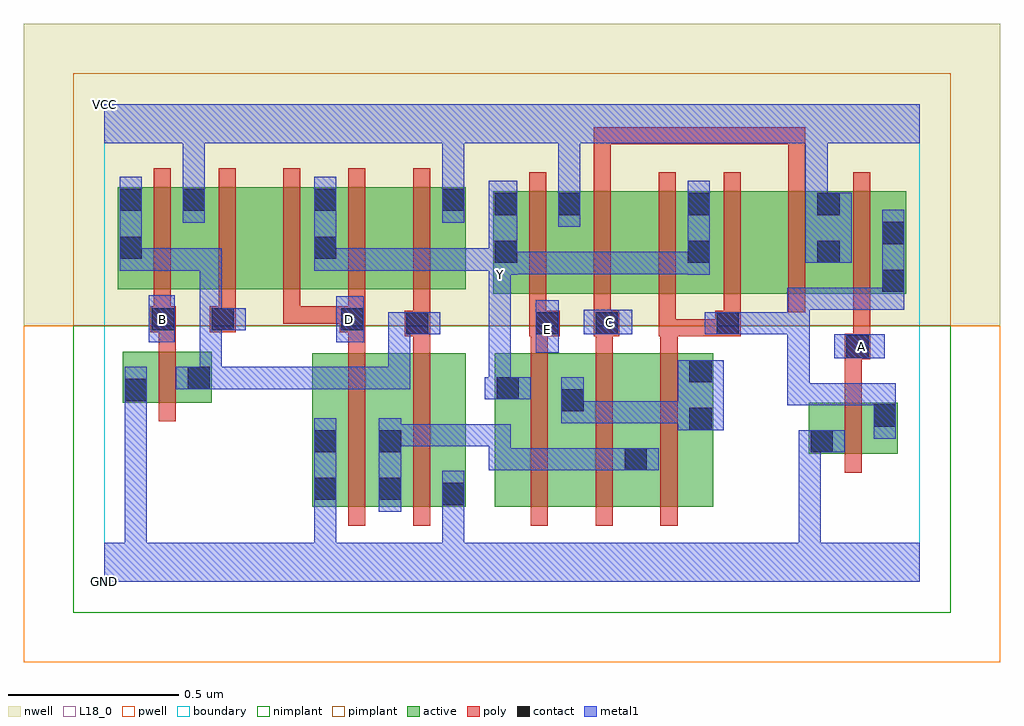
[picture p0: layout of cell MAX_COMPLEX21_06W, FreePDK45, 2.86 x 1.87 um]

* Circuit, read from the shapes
.subckt MAX_COMPLEX21_06W A B C D E GND VCC Y
M1 n1 B GND VSUBS nfet w=0.15u l=0.05u
M2 n2 D GND VSUBS nfet w=0.45u l=0.05u
M3 GND n1 n2 VSUBS nfet w=0.45u l=0.05u
M4 n3 E Y VSUBS nfet w=0.45u l=0.05u
M5 n2 C n3 VSUBS nfet w=0.45u l=0.05u
M6 n3 n4 n2 VSUBS nfet w=0.45u l=0.05u
M7 n4 A GND VSUBS nfet w=0.15u l=0.05u
M8 VCC B n1 n5 pfet w=0.3u l=0.05u
M9 n6 n1 VCC n5 pfet w=0.3u l=0.05u
M10 Y D n6 n5 pfet w=0.3u l=0.05u
M11 n7 D Y n5 pfet w=0.3u l=0.05u
M12 VCC n1 n7 n5 pfet w=0.3u l=0.05u
M13 VCC E Y n5 pfet w=0.3u l=0.05u
M14 n8 C VCC n5 pfet w=0.3u l=0.05u
M15 Y n4 n8 n5 pfet w=0.3u l=0.05u
M16 n9 n4 Y n5 pfet w=0.3u l=0.05u
M17 VCC C n9 n5 pfet w=0.3u l=0.05u
M18 n4 A VCC n5 pfet w=0.3u l=0.05u
.ends

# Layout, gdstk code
import gdstk
lib = gdstk.Library(unit=1e-6, precision=1e-09)
def R(c, l, rs):  # rectangles x0, y0, x1, y1
    for r in rs: c.add(gdstk.rectangle(r[:2], r[2:], *l))
def A(c, l, x, y, w, h, nx, ny, dx, dy):  # array of equal rectangles
    R(c, l, [(x+i*dx, y+j*dy, x+i*dx+w, y+j*dy+h) for i in range(nx) for j in range(ny)])
active = (1, 0)
pwell = (2, 0)
nwell = (3, 0)
nimplant = (4, 0)
pimplant = (5, 0)
poly = (9, 0)
contact = (10, 0)
metal1 = (11, 0)
L18_0 = (18, 0)
boundary = (235, 0)

max_complex21_06w = lib.new_cell('MAX_COMPLEX21_06W')
R(max_complex21_06w, active, [(0.61,0.22,0.875,0.67), (0.61,0.22,0.685,0.67), (0.8,0.22,1.06,0.67), (0.8,0.22,0.875,0.542), (0.985,0.22,1.06,0.435), (1.145,0.22,1.41,0.67), (1.335,0.22,1.595,0.67), (1.52,0.22,1.785,0.67), (1.145,0.245,1.22,0.67), (1.335,0.245,1.41,0.57), (1.52,0.245,1.595,0.542), (1.71,0.245,1.785,0.67), (2.065,0.375,2.14,0.525), (2.065,0.375,2.325,0.525), (2.25,0.375,2.325,0.525), (0.055,0.525,0.13,0.675), (0.055,0.525,0.315,0.675), (0.24,0.545,0.315,0.675), (1.14,0.845,1.215,1.145), (1.14,0.845,1.4,1.145), (1.325,0.845,1.555,1.145), (1.555,0.845,1.78,1.145), (1.705,0.845,1.78,1.145), (1.705,0.845,1.935,1.145), (1.935,0.845,2.16,1.145), (2.085,0.845,2.35,1.145), (2.085,0.845,2.16,1.145), (2.275,0.845,2.35,1.105), (0.04,0.857,0.115,1.157), (0.04,0.857,0.3,1.157), (0.225,0.857,0.3,1.157), (0.225,0.857,0.455,1.157), (0.455,0.857,0.685,1.157), (0.61,0.857,0.685,1.157), (0.61,0.857,0.835,1.157), (0.835,0.857,1.06,1.157), (0.985,0.857,1.06,1.157), (1.325,0.962,1.4,1.145)])
R(max_complex21_06w, pwell, [(-0.235,-0.235,2.625,0.75)])
R(max_complex21_06w, nwell, [(-0.235,0.75,2.625,1.635)])
R(max_complex21_06w, nimplant, [(-0.09,-0.09,2.48,0.75)])
R(max_complex21_06w, pimplant, [(-0.09,0.75,2.48,1.49)])
A(max_complex21_06w, poly, 1.25, 0.165, 0.05, 0.56, 3, 1, 0.19, 0)
A(max_complex21_06w, poly, 1.25, 0.675, 0.05, 0.095, 3, 1, 0.19, 0)
A(max_complex21_06w, poly, 0.145, 0.757, 0.05, 0.095, 4, 1, 0.19, 0)
A(max_complex21_06w, poly, 1.245, 0.79, 0.05, 0.41, 6, 1, 0.19, 0)
A(max_complex21_06w, poly, 0.145, 0.802, 0.05, 0.41, 5, 1, 0.19, 0)
R(max_complex21_06w, poly, [(0.715,0.165,0.765,0.725), (0.905,0.165,0.955,0.725), (2.17,0.32,2.22,0.58), (0.16,0.47,0.21,0.73), (2.17,0.53,2.22,0.702), (2.17,0.652,2.245,0.727), (0.715,0.675,0.765,0.782), (0.905,0.675,0.955,0.77), (2.195,0.677,2.245,0.84), (0.16,0.68,0.21,0.782), (0.88,0.72,0.955,0.795), (1.245,0.72,1.335,0.795), (1.435,0.72,1.51,0.795), (1.625,0.72,1.675,0.84), (1.625,0.72,1.68,0.77), (1.63,0.72,1.68,0.77), (1.63,0.72,1.68,0.77), (1.63,0.72,1.84,0.77), (1.79,0.72,1.865,0.795), (0.135,0.732,0.21,0.807), (0.31,0.732,0.385,0.807), (0.69,0.732,0.765,0.807), (0.905,0.745,0.955,0.852), (1.245,0.745,1.295,0.84), (1.435,0.745,1.485,0.84), (1.815,0.745,1.865,0.84), (0.525,0.757,0.575,0.807), (0.525,0.757,0.74,0.807), (0.69,0.757,0.74,0.807), (0.69,0.757,0.74,0.807), (1.435,1.15,1.485,1.332), (2.005,1.15,2.055,1.332), (1.435,1.282,1.485,1.332), (1.435,1.282,1.485,1.332), (1.435,1.282,1.485,1.332), (1.435,1.282,1.655,1.332), (1.605,1.282,1.655,1.332), (1.605,1.282,1.655,1.332), (1.605,1.282,1.655,1.332), (1.605,1.282,1.922,1.332), (1.872,1.282,2.055,1.332), (1.872,1.282,1.922,1.332), (1.872,1.282,1.922,1.332), (1.872,1.282,1.922,1.332), (2.005,1.282,2.055,1.332)])
A(max_complex21_06w, contact, 1.33, 1.075, 0.065, 0.065, 3, 1, 0.38, 0)
R(max_complex21_06w, contact, [(0.99,0.225,1.055,0.29), (0.615,0.24,0.68,0.305), (0.805,0.24,0.87,0.305), (1.525,0.327,1.59,0.392), (0.615,0.38,0.68,0.445), (0.805,0.38,0.87,0.445), (2.07,0.38,2.135,0.445), (1.715,0.445,1.78,0.51), (2.255,0.455,2.32,0.52), (1.34,0.5,1.405,0.565), (0.06,0.53,0.125,0.595), (1.15,0.535,1.215,0.6), (0.245,0.565,0.31,0.63), (1.715,0.585,1.78,0.65), (2.175,0.657,2.24,0.722), (0.885,0.725,0.95,0.79), (1.265,0.725,1.33,0.79), (1.44,0.725,1.505,0.79), (1.795,0.725,1.86,0.79), (0.14,0.737,0.205,0.802), (0.315,0.737,0.38,0.802), (0.695,0.737,0.76,0.802), (2.28,0.85,2.345,0.915), (1.145,0.935,1.21,1), (1.71,0.935,1.775,1), (2.09,0.935,2.155,1), (0.045,0.947,0.11,1.012), (0.615,0.947,0.68,1.012), (2.28,0.99,2.345,1.055), (1.145,1.075,1.21,1.14), (0.045,1.087,0.11,1.152), (0.23,1.087,0.295,1.152), (0.615,1.087,0.68,1.152), (0.99,1.087,1.055,1.152)])
R(max_complex21_06w, metal1, [(0,0,2.39,0.115), (0.06,0.05,0.125,0.115), (0.06,0.05,0.125,0.115), (0.06,0.05,0.125,0.115), (0.06,0.05,0.125,0.115), (0.06,0.05,0.125,0.115), (0.06,0.05,0.125,0.115), (0.06,0.05,0.125,0.56), (0.615,0.05,0.68,0.115), (0.615,0.05,0.68,0.115), (0.615,0.05,0.68,0.27), (0.99,0.05,1.055,0.255), (2.035,0.05,2.1,0.115), (2.035,0.05,2.1,0.115), (2.035,0.05,2.1,0.115), (2.035,0.05,2.1,0.115), (2.035,0.05,2.1,0.445), (0.99,0.19,1.055,0.255), (0.99,0.19,1.055,0.255), (0.99,0.19,1.055,0.325), (0.615,0.205,0.68,0.48), (0.805,0.205,0.87,0.48), (1.127,0.327,1.192,0.462), (1.127,0.327,1.417,0.392), (1.352,0.327,1.417,0.392), (1.352,0.327,1.417,0.392), (1.352,0.327,1.417,0.392), (1.352,0.327,1.555,0.392), (1.49,0.327,1.625,0.392), (2.035,0.38,2.1,0.445), (2.035,0.38,2.1,0.445), (2.035,0.38,2.17,0.445), (0.805,0.397,1.035,0.462), (0.97,0.397,1.035,0.462), (0.97,0.397,1.035,0.462), (0.97,0.397,1.035,0.462), (0.97,0.397,1.192,0.462), (1.127,0.397,1.192,0.462), (1.127,0.397,1.192,0.462), (2.255,0.42,2.32,0.555), (1.68,0.445,1.815,0.65), (1.34,0.465,1.405,0.6), (1.34,0.465,1.47,0.53), (1.405,0.465,1.47,0.53), (1.405,0.465,1.607,0.53), (1.542,0.465,1.607,0.53), (1.542,0.465,1.607,0.53), (1.542,0.465,1.607,0.53), (1.542,0.465,1.745,0.53), (2.255,0.49,2.32,0.555), (2.255,0.49,2.32,0.582), (0.06,0.495,0.125,0.63), (2.002,0.517,2.067,0.582), (2.002,0.517,2.32,0.582), (2.002,0.517,2.067,0.79), (1.115,0.535,1.25,0.6), (1.127,0.535,1.192,0.897), (0.21,0.565,0.345,0.63), (0.28,0.565,0.345,0.63), (0.28,0.565,0.345,0.63), (0.28,0.565,0.542,0.63), (0.28,0.565,0.345,0.802), (0.477,0.565,0.542,0.63), (0.477,0.565,0.542,0.63), (0.477,0.565,0.542,0.63), (0.477,0.565,0.732,0.63), (0.667,0.565,0.732,0.63), (0.667,0.565,0.732,0.63), (0.667,0.565,0.732,0.63), (0.667,0.565,0.897,0.63), (0.832,0.565,0.897,0.63), (0.832,0.565,0.897,0.79), (2.14,0.655,2.287,0.725), (1.265,0.672,1.332,0.825), (0.13,0.702,0.207,0.84), (0.68,0.702,0.76,0.837), (0.832,0.725,0.897,0.79), (0.832,0.725,0.915,0.79), (0.85,0.725,0.985,0.79), (1.405,0.725,1.547,0.797), (1.76,0.725,1.895,0.79), (1.83,0.725,1.895,0.79), (1.83,0.725,1.895,0.79), (1.83,0.725,2.067,0.79), (2.002,0.725,2.067,0.79), (2.002,0.725,2.067,0.79), (2.002,0.725,2.067,0.79), (2.002,0.725,2.067,0.862), (0.28,0.737,0.345,0.802), (0.28,0.737,0.345,0.802), (0.28,0.737,0.415,0.802), (0.28,0.737,0.345,0.977), (2.002,0.797,2.067,0.862), (2.002,0.797,2.345,0.862), (2.28,0.797,2.345,0.88), (2.28,0.815,2.345,0.88), (2.28,0.815,2.345,1.09), (1.127,0.832,1.192,0.967), (1.127,0.9,1.21,1.175), (1.71,0.9,1.775,1.175), (1.127,0.902,1.192,0.967), (1.145,0.902,1.21,0.967), (1.145,0.902,1.21,0.967), (1.145,0.902,1.417,0.967), (1.352,0.902,1.417,0.967), (1.352,0.902,1.417,0.967), (1.352,0.902,1.417,0.967), (1.352,0.902,1.607,0.967), (1.542,0.902,1.607,0.967), (1.542,0.902,1.607,0.967), (1.542,0.902,1.607,0.967), (1.542,0.902,1.775,0.967), (0.045,0.912,0.11,0.977), (0.045,0.912,0.11,0.977), (0.045,0.912,0.11,1.187), (0.045,0.912,0.345,0.977), (0.28,0.912,0.345,0.977), (0.615,0.912,0.68,0.977), (0.615,0.912,0.68,0.977), (0.615,0.912,0.68,1.187), (0.615,0.912,0.87,0.977), (0.805,0.912,0.87,0.977), (0.805,0.912,1.035,0.977), (0.97,0.912,1.035,0.977), (0.97,0.912,1.035,0.977), (0.97,0.912,1.035,0.977), (0.97,0.912,1.192,0.977), (2.055,0.935,2.19,1.14), (1.33,1.04,1.395,1.175), (0.23,1.052,0.295,1.187), (0.99,1.052,1.055,1.187), (2.055,1.075,2.12,1.35), (1.33,1.11,1.395,1.175), (1.33,1.11,1.395,1.175), (1.33,1.11,1.395,1.35), (0.23,1.122,0.295,1.187), (0.23,1.122,0.295,1.187), (0.23,1.122,0.295,1.35), (0.99,1.122,1.055,1.187), (0.99,1.122,1.055,1.187), (0.99,1.122,1.055,1.35), (0,1.285,2.39,1.4), (2.055,1.285,2.12,1.35), (2.055,1.285,2.12,1.35)])
R(max_complex21_06w, L18_0, [(0,0,2.39,0.115), (0.06,0.05,0.125,0.115), (0.06,0.05,0.125,0.115), (0.06,0.05,0.125,0.115), (0.06,0.05,0.125,0.115), (0.06,0.05,0.125,0.115), (0.06,0.05,0.125,0.115), (0.06,0.05,0.125,0.56), (0.615,0.05,0.68,0.115), (0.615,0.05,0.68,0.115), (0.615,0.05,0.68,0.27), (0.99,0.05,1.055,0.255), (2.035,0.05,2.1,0.115), (2.035,0.05,2.1,0.115), (2.035,0.05,2.1,0.115), (2.035,0.05,2.1,0.115), (2.035,0.05,2.1,0.445), (0.99,0.19,1.055,0.255), (0.99,0.19,1.055,0.255), (0.99,0.19,1.055,0.325), (0.615,0.205,0.68,0.48), (2.035,0.38,2.1,0.445), (2.035,0.38,2.1,0.445), (2.035,0.38,2.17,0.445), (0.06,0.495,0.125,0.63), (1.115,0.535,1.25,0.6), (1.127,0.535,1.192,0.897), (2.14,0.655,2.287,0.725), (2.187,0.657,2.252,0.722), (1.265,0.672,1.332,0.825), (0.13,0.702,0.207,0.84), (0.68,0.702,0.76,0.837), (1.267,0.707,1.332,0.772), (1.405,0.725,1.547,0.797), (1.447,0.727,1.512,0.792), (0.137,0.737,0.202,0.802), (0.687,0.737,0.752,0.802), (1.127,0.832,1.192,0.967), (1.127,0.867,1.192,0.932), (1.127,0.9,1.21,1.175), (1.71,0.9,1.775,1.175), (1.127,0.902,1.192,0.967), (1.145,0.902,1.21,0.967), (1.145,0.902,1.21,0.967), (1.145,0.902,1.417,0.967), (1.352,0.902,1.417,0.967), (1.352,0.902,1.417,0.967), (1.352,0.902,1.417,0.967), (1.352,0.902,1.607,0.967), (1.542,0.902,1.607,0.967), (1.542,0.902,1.607,0.967), (1.542,0.902,1.607,0.967), (1.542,0.902,1.775,0.967), (0.615,0.912,0.68,0.977), (0.615,0.912,0.68,0.977), (0.615,0.912,0.68,1.187), (0.615,0.912,0.87,0.977), (0.805,0.912,0.87,0.977), (0.805,0.912,1.035,0.977), (0.97,0.912,1.035,0.977), (0.97,0.912,1.035,0.977), (0.97,0.912,1.035,0.977), (0.97,0.912,1.192,0.977), (2.055,0.935,2.19,1.14), (1.33,1.04,1.395,1.175), (0.23,1.052,0.295,1.187), (0.99,1.052,1.055,1.187), (2.055,1.075,2.12,1.35), (1.33,1.11,1.395,1.175), (1.33,1.11,1.395,1.175), (1.33,1.11,1.395,1.35), (0.23,1.122,0.295,1.187), (0.23,1.122,0.295,1.187), (0.23,1.122,0.295,1.35), (0.99,1.122,1.055,1.187), (0.99,1.122,1.055,1.187), (0.99,1.122,1.055,1.35), (0,1.285,2.39,1.4), (2.055,1.285,2.12,1.35), (2.055,1.285,2.12,1.35)])
R(max_complex21_06w, boundary, [(0,0,2.39,1.4)])
max_complex21_06w.add(gdstk.Label('A', (2.22,0.69), layer=11, texttype=0))
max_complex21_06w.add(gdstk.Label('B', (0.17,0.77), layer=11, texttype=0))
max_complex21_06w.add(gdstk.Label('C', (1.48,0.76), layer=11, texttype=0))
max_complex21_06w.add(gdstk.Label('D', (0.72,0.77), layer=11, texttype=0))
max_complex21_06w.add(gdstk.Label('E', (1.3,0.74), layer=11, texttype=0))
max_complex21_06w.add(gdstk.Label('Y', (1.16,0.9), layer=11, texttype=0))
max_complex21_06w.add(gdstk.Label('VCC', (0,1.4), layer=11, texttype=0))
max_complex21_06w.add(gdstk.Label('GND', (0,0), layer=11, texttype=0))

lib.write_gds('MAX_COMPLEX21_06W.gds')
